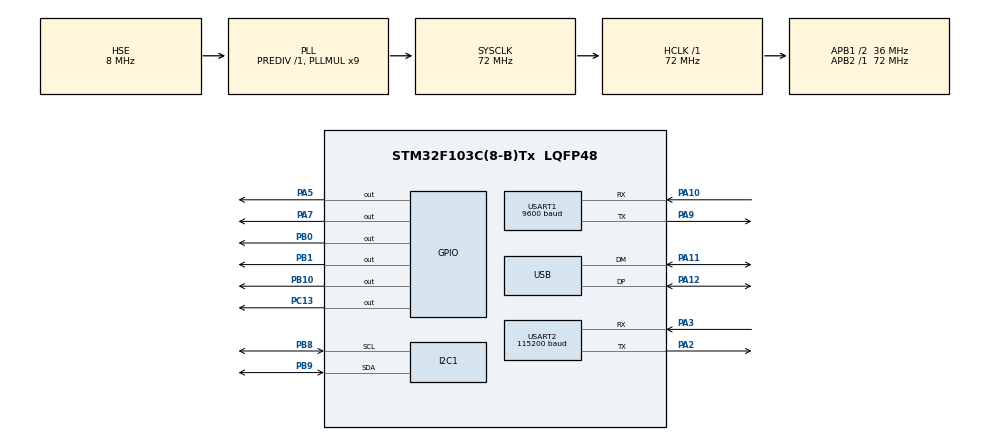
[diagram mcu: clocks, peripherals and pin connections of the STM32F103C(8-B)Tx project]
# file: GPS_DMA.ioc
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I2C1.I2C_Mode=I2C_Fast
Mcu.Family=STM32F1
Mcu.Name=STM32F103C(8-B)Tx
Mcu.Package=LQFP48
NVIC.PriorityGroup=NVIC_PRIORITYGROUP_4
NVIC.TIM1_UP_IRQn=true\:0\:0\:false\:false\:true\:true\:true
NVIC.USART1_IRQn=true\:4\:0\:true\:false\:true\:true\:true
NVIC.USART2_IRQn=true\:0\:0\:false\:false\:true\:true\:true
NVIC.USB_LP_CAN1_RX0_IRQn=true\:0\:0\:false\:false\:true\:false\:true
PA10.Mode=Asynchronous
PA10.Signal=USART1_RX
PA11.Mode=Device
PA11.Signal=USB_DM
PA12.Mode=Device
PA12.Signal=USB_DP
PA13.Mode=Serial_Wire
PA13.Signal=SYS_JTMS-SWDIO
PA14.Mode=Serial_Wire
PA14.Signal=SYS_JTCK-SWCLK
PA2.Mode=Asynchronous
PA2.Signal=USART2_TX
PA3.Mode=Asynchronous
PA3.Signal=USART2_RX
PA5.Signal=GPIO_Output
PA7.Signal=GPIO_Output
PA9.Mode=Asynchronous
PA9.Signal=USART1_TX
PB0.Signal=GPIO_Output
PB1.Signal=GPIO_Output
PB10.Signal=GPIO_Output
PB8.Mode=I2C
PB8.Signal=I2C1_SCL
PB9.Mode=I2C
PB9.Signal=I2C1_SDA
PC13-TAMPER-RTC.Signal=GPIO_Output
PD0-OSC_IN.Mode=HSE-External-Oscillator
PD0-OSC_IN.Signal=RCC_OSC_IN
PD1-OSC_OUT.Mode=HSE-External-Oscillator
PD1-OSC_OUT.Signal=RCC_OSC_OUT
ProjectManager.HeapSize=0x200
ProjectManager.StackSize=0x400
ProjectManager.TargetToolchain=STM32CubeIDE
RCC.AHBFreq_Value=72000000
RCC.APB1CLKDivider=RCC_HCLK_DIV2
RCC.APB1Freq_Value=36000000
RCC.APB1TimFreq_Value=72000000
RCC.APB2Freq_Value=72000000
RCC.APB2TimFreq_Value=72000000
RCC.HCLKFreq_Value=72000000
RCC.PLLMUL=RCC_PLL_MUL9
RCC.PLLSourceVirtual=RCC_PLLSOURCE_HSE
RCC.SYSCLKFreq_VALUE=72000000
RCC.SYSCLKSource=RCC_SYSCLKSOURCE_PLLCLK
RCC.USBFreq_Value=48000000
RCC.USBPrescaler=RCC_USBCLKSOURCE_PLL_DIV1_5
TIM1.Period=1000
TIM1.Prescaler=719
USART1.BaudRate=9600
USART1.VirtualMode=VM_ASYNC
USART2.BaudRate=115200
USART2.VirtualMode=VM_ASYNC
USB_DEVICE.CLASS_NAME_FS=CDC
USB_DEVICE.VirtualMode=Cdc
USB_DEVICE.VirtualModeFS=Cdc_FS
VP_TIM1_VS_ClockSourceINT.Mode=Internal
VP_USB_DEVICE_VS_USB_DEVICE_CDC_FS.Mode=CDC_FS
board=custom

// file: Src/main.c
/* USER CODE BEGIN Header */
/**
  ******************************************************************************
  * @file           : main.c
  * @brief          : Main program body
  ******************************************************************************
  * @attention
  *
  * <h2><center>&copy; Copyright (c) 2019 STMicroelectronics.
  * All rights reserved.</center></h2>
  *
  * This software component is licensed by ST under BSD 3-Clause license,
  * the "License"; You may not use this file except in compliance with the
  * License. You may obtain a copy of the License at:
  *                        opensource.org/licenses/BSD-3-Clause
  *
  ******************************************************************************
  */
/* USER CODE END Header */

#include "main.h"
#include "usb_device.h"

/* USER CODE BEGIN Includes */
#include "gps.h"
#include "nokia5110.h"
#include "graphic.h"
#include "mpu6050.h"
/* USER CODE END Includes */

I2C_HandleTypeDef hi2c1;

TIM_HandleTypeDef htim1;

UART_HandleTypeDef huart1;
UART_HandleTypeDef huart2;

void SystemClock_Config(void);
static void MX_GPIO_Init(void);
static void MX_USART1_UART_Init(void);
static void MX_USART2_UART_Init(void);
static void MX_I2C1_Init(void);
static void MX_TIM1_Init(void);

/* USER CODE BEGIN 0 */
#define DMA_RX_BUFFER_SIZE          64
uint8_t DMA_RX_Buffer[DMA_RX_BUFFER_SIZE];

#define UART_BUFFER_SIZE            256
uint8_t UART_Buffer[UART_BUFFER_SIZE];

char Rx_indx,Rx_indx1, Rx_data[2], Rx_Buffer[100], location[100],Rx_data1[1], Rx_Buffer1[100],Transfer_cplt;
char* c = "OK";
uint8_t start;
char test[100];
char delim[] = ",";

char * pch;
GNRMC gps;
char buffer[10];
char temp_[20];
char time[8];
void HAL_TIM_PeriodElapsedCallback(TIM_HandleTypeDef *htim)
	  {
	      if (__HAL_TIM_GET_IT_SOURCE(&htim1,TIM_IT_UPDATE)) {
	    	  LCD_clrScr();
	    	  LCD_print("Time:", 0, 0);
	    	  LCD_print(time, 30, 0);

	    	  LCD_print("Lat:", 0, 1);
	    	  itoa(gps.Lat_Deg , buffer, 10);
	    	  LCD_print(buffer, 20, 1);
	    	  LCD_print(":", 35, 1);
	    	  ftoa(gps.Lat_Minute , buffer, 5);
	    	  LCD_print(buffer, 36, 1);

	    	  LCD_print("Lon:", 0, 2);
	    	  itoa(gps.Lon_Deg , buffer, 10);
	    	  LCD_print(buffer, 20, 2);
	    	  LCD_print(":", 38, 2);
	    	  ftoa(gps.Lon_Minute , buffer, 5);
	    	  LCD_print(buffer, 40, 2);

	    	  LCD_print("Speed:", 0, 3);
	    	  ftoa(gps.Speed , buffer, 5);
	    	  LCD_print(buffer, 36, 3);
	          //LCD_print(location, 0, 0);
	          ftoa(yaw , buffer, 2);
	          LCD_print("Heading:", 0, 5);
	          LCD_print(buffer, 48, 5);
	      }
	  }
/* USER CODE END 0 */

int main(void)
{

  /* MCU Configuration--------------------------------------------------------*/

  /* Reset of all peripherals, Initializes the Flash interface and the Systick. */
  HAL_Init();

  /* Configure the system clock */
  SystemClock_Config();

  /* Initialize all configured peripherals */
  MX_GPIO_Init();
  MX_USART1_UART_Init();
  MX_USART2_UART_Init();
  MX_I2C1_Init();
  MX_USB_DEVICE_Init();
  MX_TIM1_Init();
  /* USER CODE BEGIN 2 */
//  HAL_UART_Receive_IT(&huart1, Rx_data, 1);
 //HAL_UART_Receive_IT(&huart2, Rx_data1,1);

  LCD_setRST(GPIOB, GPIO_PIN_10);
  LCD_setCE(GPIOB, GPIO_PIN_1);
  LCD_setDC(GPIOB, GPIO_PIN_0);
  LCD_setDIN(GPIOA, GPIO_PIN_7);
  LCD_setCLK(GPIOA, GPIO_PIN_5);
  LCD_init();
  //LCD_clrScr();
  HAL_Delay(1000);

  LCD_invert(0);
  //LCD_putChar('a');
  LCD_print("GPS", 0, 4);
  HAL_Delay(1000);
  LCD_clrScr();
  LCD_goXY(0, 0);
  LCD_printBuffer(mari);
  HAL_Delay(1000);
//  HAL_TIM_Base_Start_IT(&htim1);
  init_MPU();
  /* USER CODE END 2 */

  /* Infinite loop */
  while (1)
  {

    /* USER CODE BEGIN 3 */
	  //LCD_clrScr();
//	  LCD_goXY(0, 0);
//	  LCD_putChar('a');

      process_MPU();
//	  HAL_Delay(10);

  }
  /* USER CODE END 3 */
}

void SystemClock_Config(void)
{
  RCC_OscInitTypeDef RCC_OscInitStruct = {0};
  RCC_ClkInitTypeDef RCC_ClkInitStruct = {0};
  RCC_PeriphCLKInitTypeDef PeriphClkInit = {0};

  /** Initializes the CPU, AHB and APB busses clocks
  */
  RCC_OscInitStruct.OscillatorType = RCC_OSCILLATORTYPE_HSE;
  RCC_OscInitStruct.HSEState = RCC_HSE_ON;
  RCC_OscInitStruct.HSEPredivValue = RCC_HSE_PREDIV_DIV1;
  RCC_OscInitStruct.HSIState = RCC_HSI_ON;
  RCC_OscInitStruct.PLL.PLLState = RCC_PLL_ON;
  RCC_OscInitStruct.PLL.PLLSource = RCC_PLLSOURCE_HSE;
  RCC_OscInitStruct.PLL.PLLMUL = RCC_PLL_MUL9;
  if (HAL_RCC_OscConfig(&RCC_OscInitStruct) != HAL_OK)
  {
    Error_Handler();
  }
  /** Initializes the CPU, AHB and APB busses clocks
  */
  RCC_ClkInitStruct.ClockType = RCC_CLOCKTYPE_HCLK|RCC_CLOCKTYPE_SYSCLK
                              |RCC_CLOCKTYPE_PCLK1|RCC_CLOCKTYPE_PCLK2;
  RCC_ClkInitStruct.SYSCLKSource = RCC_SYSCLKSOURCE_PLLCLK;
  RCC_ClkInitStruct.AHBCLKDivider = RCC_SYSCLK_DIV1;
  RCC_ClkInitStruct.APB1CLKDivider = RCC_HCLK_DIV2;
  RCC_ClkInitStruct.APB2CLKDivider = RCC_HCLK_DIV1;

  if (HAL_RCC_ClockConfig(&RCC_ClkInitStruct, FLASH_LATENCY_2) != HAL_OK)
  {
    Error_Handler();
  }
  PeriphClkInit.PeriphClockSelection = RCC_PERIPHCLK_USB;
  PeriphClkInit.UsbClockSelection = RCC_USBCLKSOURCE_PLL_DIV1_5;
  if (HAL_RCCEx_PeriphCLKConfig(&PeriphClkInit) != HAL_OK)
  {
    Error_Handler();
  }
}

static void MX_I2C1_Init(void)
{

  hi2c1.Instance = I2C1;
  hi2c1.Init.ClockSpeed = 400000;
  hi2c1.Init.DutyCycle = I2C_DUTYCYCLE_2;
  hi2c1.Init.OwnAddress1 = 0;
  hi2c1.Init.AddressingMode = I2C_ADDRESSINGMODE_7BIT;
  hi2c1.Init.DualAddressMode = I2C_DUALADDRESS_DISABLE;
  hi2c1.Init.OwnAddress2 = 0;
  hi2c1.Init.GeneralCallMode = I2C_GENERALCALL_DISABLE;
  hi2c1.Init.NoStretchMode = I2C_NOSTRETCH_DISABLE;
  if (HAL_I2C_Init(&hi2c1) != HAL_OK)
  {
    Error_Handler();
  }

}

static void MX_TIM1_Init(void)
{

  TIM_ClockConfigTypeDef sClockSourceConfig = {0};
  TIM_MasterConfigTypeDef sMasterConfig = {0};

  htim1.Instance = TIM1;
  htim1.Init.Prescaler = 719;
  htim1.Init.CounterMode = TIM_COUNTERMODE_UP;
  htim1.Init.Period = 10000;
  htim1.Init.ClockDivision = TIM_CLOCKDIVISION_DIV1;
  htim1.Init.RepetitionCounter = 0;
  htim1.Init.AutoReloadPreload = TIM_AUTORELOAD_PRELOAD_DISABLE;
  if (HAL_TIM_Base_Init(&htim1) != HAL_OK)
  {
    Error_Handler();
  }
  sClockSourceConfig.ClockSource = TIM_CLOCKSOURCE_INTERNAL;
  if (HAL_TIM_ConfigClockSource(&htim1, &sClockSourceConfig) != HAL_OK)
  {
    Error_Handler();
  }
  sMasterConfig.MasterOutputTrigger = TIM_TRGO_RESET;
  sMasterConfig.MasterSlaveMode = TIM_MASTERSLAVEMODE_DISABLE;
  if (HAL_TIMEx_MasterConfigSynchronization(&htim1, &sMasterConfig) != HAL_OK)
  {
    Error_Handler();
  }

}

static void MX_USART1_UART_Init(void)
{

  huart1.Instance = USART1;
  huart1.Init.BaudRate = 9600;
  huart1.Init.WordLength = UART_WORDLENGTH_8B;
  huart1.Init.StopBits = UART_STOPBITS_1;
  huart1.Init.Parity = UART_PARITY_NONE;
  huart1.Init.Mode = UART_MODE_TX_RX;
  huart1.Init.HwFlowCtl = UART_HWCONTROL_NONE;
  huart1.Init.OverSampling = UART_OVERSAMPLING_16;
  if (HAL_UART_Init(&huart1) != HAL_OK)
  {
    Error_Handler();
  }

}

static void MX_USART2_UART_Init(void)
{

  huart2.Instance = USART2;
  huart2.Init.BaudRate = 115200;
  huart2.Init.WordLength = UART_WORDLENGTH_8B;
  huart2.Init.StopBits = UART_STOPBITS_1;
  huart2.Init.Parity = UART_PARITY_NONE;
  huart2.Init.Mode = UART_MODE_TX_RX;
  huart2.Init.HwFlowCtl = UART_HWCONTROL_NONE;
  huart2.Init.OverSampling = UART_OVERSAMPLING_16;
  if (HAL_UART_Init(&huart2) != HAL_OK)
  {
    Error_Handler();
  }

}

static void MX_GPIO_Init(void)
{
  GPIO_InitTypeDef GPIO_InitStruct = {0};

  /* GPIO Ports Clock Enable */
  __HAL_RCC_GPIOC_CLK_ENABLE();
  __HAL_RCC_GPIOD_CLK_ENABLE();
  __HAL_RCC_GPIOA_CLK_ENABLE();
  __HAL_RCC_GPIOB_CLK_ENABLE();

  /*Configure GPIO pin Output Level */
  HAL_GPIO_WritePin(GPIOC, GPIO_PIN_13, GPIO_PIN_RESET);

  /*Configure GPIO pin Output Level */
  HAL_GPIO_WritePin(GPIOA, GPIO_PIN_5|GPIO_PIN_7, GPIO_PIN_RESET);

  /*Configure GPIO pin Output Level */
  HAL_GPIO_WritePin(GPIOB, GPIO_PIN_0|GPIO_PIN_1|GPIO_PIN_10, GPIO_PIN_RESET);

  /*Configure GPIO pin : PC13 */
  GPIO_InitStruct.Pin = GPIO_PIN_13;
  GPIO_InitStruct.Mode = GPIO_MODE_OUTPUT_PP;
  GPIO_InitStruct.Pull = GPIO_NOPULL;
  GPIO_InitStruct.Speed = GPIO_SPEED_FREQ_LOW;
  HAL_GPIO_Init(GPIOC, &GPIO_InitStruct);

  /*Configure GPIO pins : PA5 PA7 */
  GPIO_InitStruct.Pin = GPIO_PIN_5|GPIO_PIN_7;
  GPIO_InitStruct.Mode = GPIO_MODE_OUTPUT_PP;
  GPIO_InitStruct.Pull = GPIO_NOPULL;
  GPIO_InitStruct.Speed = GPIO_SPEED_FREQ_LOW;
  HAL_GPIO_Init(GPIOA, &GPIO_InitStruct);

  /*Configure GPIO pins : PB0 PB1 PB10 */
  GPIO_InitStruct.Pin = GPIO_PIN_0|GPIO_PIN_1|GPIO_PIN_10;
  GPIO_InitStruct.Mode = GPIO_MODE_OUTPUT_PP;
  GPIO_InitStruct.Pull = GPIO_NOPULL;
  GPIO_InitStruct.Speed = GPIO_SPEED_FREQ_LOW;
  HAL_GPIO_Init(GPIOB, &GPIO_InitStruct);

}

/* USER CODE BEGIN 4 */
void substring(char s[], char sub[], int p, int l) {
   int c = 0;

   while (c < l) {
      sub[c] = s[p+c-1];
      c++;
   }
   sub[c] = '\0';
}
void HAL_UART_RxCpltCallback(UART_HandleTypeDef *huart)
{
    uint8_t i;
    if (huart->Instance == USART1)  //current UART
        {
        if (Rx_indx==0) {for (i=0;i<100;i++) Rx_Buffer[i]=0;}   //clear Rx_Buffer before receiving new data

        if (Rx_data[0]!=10) //if received data different from ascii 13 (enter)
            {
            Rx_Buffer[Rx_indx++]=Rx_data[0];    //add data to Rx_Buffer
            }
        else            //if received data = 13
            {
        	//Rx_Buffer[Rx_indx++] = 13;
            Rx_indx=0;
            char * t = "\n";
            Transfer_cplt=1;//transfer complete, data is ready to read
            if(strstr (Rx_Buffer,"GNRMC")!= NULL ){

            char * n = " ";
            //HAL_UART_Transmit(&huart2, (uint8_t *) Rx_Buffer, sizeof(Rx_Buffer),1000);
            strcpy(location,Rx_Buffer);
            pch = strtok (Rx_Buffer,",");

            int i = 0;

            while (pch != NULL)
              {
            	i++;
            	char tem[2];
            	char deg[8];
            	strcpy(temp_, pch);
            	switch(i){
            	       case 2:
                               for(int j= 0; j<8;j++){
                            	   time[j] = NULL;
                               }
            	    	       substring(temp_, tem, 1, 2);
            	               gps.UTC_Hour = atoi(tem) + 7;
            	               itoa(gps.UTC_Hour,tem,10);
            	               strcat(time, tem);
            	               strcat(time, ":");
            	               substring(temp_, tem, 3, 2);
            	               strcat(time, tem);
            	               strcat(time, ":");
            	               gps.UTC_Min = atoi(tem);
            	               substring(temp_, tem, 5, 2);
            	               strcat(time, tem);
            	               gps.UTC_Sec = atoi(tem);
            	       break;
            	       case 3:
            	    	       gps.Pos = temp_[0];
            	       break;
            	       case 4:
            	    	       substring(temp_, tem, 1, 2);
            	               gps.Lat_Deg = atoi(tem);
            	               substring(temp_, deg, 3, 8);
            	               gps.Lat_Minute = strtod(deg,NULL);

            	       break;
            	       case 5:
            	               gps.Lat_Dir = temp_[0];
            	               break;
            	       case 6:
            	               substring(temp_, tem, 1, 3);
            	               gps.Lon_Deg = atoi(tem);
            	               substring(temp_, deg, 4, 8);
            	               gps.Lon_Minute = strtod(deg,NULL);

            	              break;
            	       case 7:
            	                gps.Lon_Dir = temp_[0];
            	              break;
            	       case 8:
            	                gps.Speed = strtod(temp_,NULL) * 0.514444856;
            	              break;

            	}
            	//CDC_Transmit_FS(temp, strlen(temp));
            	HAL_UART_Transmit(&huart2,&temp_, strlen(temp_),1000);
            	//CDC_Transmit_FS(n, strlen(n));
            	HAL_UART_Transmit(&huart2, (uint8_t *) n, sizeof(n),1000);
                pch = strtok (NULL, ",");

              }
//
//            			sscanf(Rx_Buffer,"$GNRMC,%2hhd%2hhd%2hhd.%3hd,%f,%c,%f,%c,%f,%f,%d,%f,%c,*%c\r\n",
//            					gps.UTC_Hour,gps.UTC_Min,gps.UTC_Sec,gps.UTC_MicroSec,gps.Lat,gps.Lat_Dir,
//								gps.Lon,gps.Lon_Dir,gps.Speed,gps.Track,gps.date,gps.mag_v,gps.var_dir,gps.mode_ind
//								);
            HAL_UART_Transmit(&huart2, (uint8_t *) t, sizeof(t),1000);

            }

            }

        HAL_UART_Receive_IT(&huart1, (uint8_t *) Rx_data, 1);   //activate UART receive interrupt every time
        }
    if (huart->Instance == USART2)  //current UART
            {
            if (Rx_indx1==0) {for (i=0;i<100;i++) Rx_Buffer1[i]=0;
            LCD_clrScr();}   //clear Rx_Buffer before receiving new data
            if(Rx_data1[0] == '0'){
            	start = 1;

            }
            if (Rx_indx1 < 100 && start == 1 ) //if received data different from ascii 13 (enter)
                {
                Rx_Buffer1[Rx_indx1++]=Rx_data1[0];    //add data to Rx_Buffer
                }
            else            //if received data = 13
                {
            	//Rx_Buffer[Rx_indx++] = 13;
                Rx_indx1=0;
                start = 0;
                char * t = "\n";
                Transfer_cplt=1;//transfer complete, data is ready to read
          	    //LCD_print(c, 0, 0);
          	  //HAL_Delay(4000);
                }

            HAL_UART_Receive_IT(&huart2, (uint8_t *) Rx_data1, 1);   //activate UART receive interrupt every time
            }

}

/* USER CODE END 4 */

void Error_Handler(void)
{
}

/************************ (C) COPYRIGHT STMicroelectronics *****END OF FILE****/
